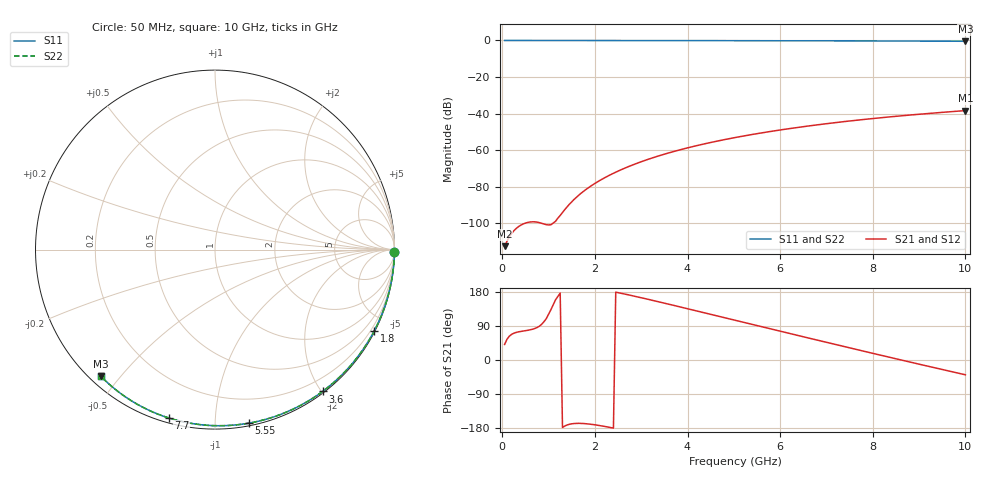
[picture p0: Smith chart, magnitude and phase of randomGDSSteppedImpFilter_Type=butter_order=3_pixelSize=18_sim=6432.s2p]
! freq	dB(S11)	phase(S11)	dB(S12)	phase(S12)
!  dB(S21)	phase(S21)	dB(S22)	phase(S22)
!S-par simulation data
#  GHz  S  DB  R 50
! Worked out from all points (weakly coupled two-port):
!   200 points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, 50 MHz to 10 GHz, reference 50 ohm
!   highest |S21| = -38.36 dB at 10 GHz (marker M1); lowest = -112.5 dB at 50 MHz (marker M2)
!   lowest |S11| = -0.4 dB at 10 GHz (marker M3), VSWR 39.03, Z = 1.54 - j22.3 ohm
!   |S11| at or under -10 dB: nowhere
!   |S22| runs from -0.4 to 0.0 dB; largest |S21 - S12| = 0
!   S11 on the Smith chart (normalised r, x): 50 MHz: open; 1.8 GHz: 0.04, -4.16; 3.6 GHz: 0.02, -2.01; 5.55 GHz: 0.02, -1.21; 7.7 GHz: 0.02, -0.76; 10 GHz: 0.03, -0.45
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0.05  -0.00 -0.8  -112.53 41.0  -112.53 41.0  -0.00 -0.8
0.45  -0.01 -6.9  -100.39 76.4  -100.39 76.4  -0.01 -6.9
0.9  -0.02 -13.6  -100.43 101.1  -100.43 101.1  -0.02 -13.6
1.75  -0.03 -26.3  -82.60 -167.6  -82.60 -167.6  -0.03 -26.3
1.8  -0.03 -27.0  -81.64 -168.1  -81.64 -168.1  -0.03 -27.0
1.9  -0.04 -28.5  -79.85 -169.4  -79.85 -169.4  -0.04 -28.5
2.05  -0.04 -30.7  -77.42 -171.9  -77.42 -171.9  -0.04 -30.7
2.25  -0.04 -33.6  -74.57 -176.2  -74.57 -176.2  -0.04 -33.6
2.45  -0.05 -36.5  -72.05 179.0  -72.05 179.0  -0.05 -36.5
2.65  -0.05 -39.4  -69.79 173.9  -69.79 173.9  -0.05 -39.4
3  -0.06 -44.4  -66.34 164.3  -66.34 164.3  -0.06 -44.4
3.4  -0.07 -50.1  -62.97 152.9  -62.97 152.9  -0.07 -50.1
3.6  -0.07 -52.9  -61.47 147.1  -61.47 147.1  -0.07 -52.9
4.3  -0.09 -62.5  -56.93 126.5  -56.93 126.5  -0.09 -62.5
5.05  -0.11 -72.5  -53.00 104.2  -53.00 104.2  -0.11 -72.5
5.55  -0.13 -78.9  -50.77 89.3  -50.77 89.3  -0.13 -78.9
6.1  -0.15 -85.9  -48.59 73.1  -48.59 73.1  -0.15 -85.9
6.7  -0.18 -93.4  -46.49 55.4  -46.49 55.4  -0.18 -93.4
7.7  -0.24 -105.4  -43.50 26.2  -43.50 26.2  -0.24 -105.4
8.35  -0.29 -113.0  -41.84 7.5  -41.84 7.5  -0.29 -113.1
9.15  -0.36 -122.3  -40.05 -15.3  -40.05 -15.3  -0.36 -122.3
10  -0.45 -131.9  -38.36 -39.0  -38.36 -39.0  -0.45 -131.9
